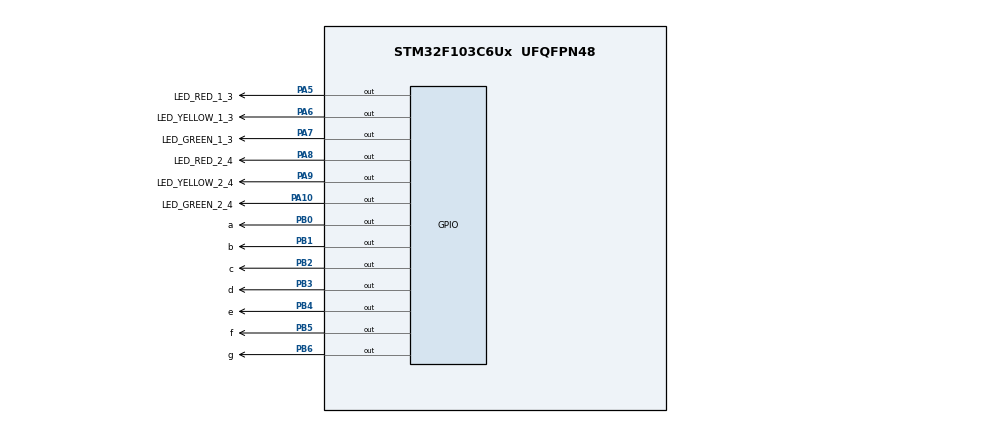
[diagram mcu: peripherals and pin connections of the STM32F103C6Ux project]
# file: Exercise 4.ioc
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Mcu.Family=STM32F1
Mcu.Name=STM32F103C6Ux
Mcu.Package=UFQFPN48
NVIC.PriorityGroup=NVIC_PRIORITYGROUP_4
PA10.GPIO_Label=LED_GREEN_2_4
PA10.Signal=GPIO_Output
PA5.GPIO_Label=LED_RED_1_3
PA5.Signal=GPIO_Output
PA6.GPIO_Label=LED_YELLOW_1_3
PA6.Signal=GPIO_Output
PA7.GPIO_Label=LED_GREEN_1_3
PA7.Signal=GPIO_Output
PA8.GPIO_Label=LED_RED_2_4
PA8.Signal=GPIO_Output
PA9.GPIO_Label=LED_YELLOW_2_4
PA9.Signal=GPIO_Output
PB0.GPIO_Label=a
PB0.Signal=GPIO_Output
PB1.GPIO_Label=b
PB1.Signal=GPIO_Output
PB2.GPIO_Label=c
PB2.Signal=GPIO_Output
PB3.GPIO_Label=d
PB3.Signal=GPIO_Output
PB4.GPIO_Label=e
PB4.Signal=GPIO_Output
PB5.GPIO_Label=f
PB5.Signal=GPIO_Output
PB6.GPIO_Label=g
PB6.Signal=GPIO_Output
ProjectManager.HeapSize=0x200
ProjectManager.StackSize=0x400
ProjectManager.TargetToolchain=STM32CubeIDE
RCC.APB1Freq_Value=8000000
RCC.APB2Freq_Value=8000000
VP_SYS_VS_ND.Mode=No_Debug
board=custom

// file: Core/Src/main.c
/* USER CODE BEGIN Header */
/**
  ******************************************************************************
  * @file           : main.c
  * @brief          : Main program body
  ******************************************************************************
  * @attention
  *
  * <h2><center>&copy; Copyright (c) 2022 STMicroelectronics.
  * All rights reserved.</center></h2>
  *
  * This software component is licensed by ST under BSD 3-Clause license,
  * the "License"; You may not use this file except in compliance with the
  * License. You may obtain a copy of the License at:
  *                        opensource.org/licenses/BSD-3-Clause
  *
  ******************************************************************************
  */
/* USER CODE END Header */
#include "main.h"

void SystemClock_Config(void);
static void MX_GPIO_Init(void);

/* USER CODE BEGIN 0 */
void display7SEG(int num)
{
	if (num == 0)
	{
		HAL_GPIO_WritePin (GPIOB, a_Pin|b_Pin|c_Pin|d_Pin|e_Pin|f_Pin, GPIO_PIN_RESET);
		HAL_GPIO_WritePin (GPIOB, g_Pin, GPIO_PIN_SET);
	}
	else if (num == 1)
	{
		HAL_GPIO_WritePin (GPIOB, b_Pin|c_Pin, GPIO_PIN_RESET);
		HAL_GPIO_WritePin (GPIOB, a_Pin|d_Pin|e_Pin|f_Pin|g_Pin, GPIO_PIN_SET);
	}
	else if (num == 2)
	{
		HAL_GPIO_WritePin (GPIOB, a_Pin|b_Pin|d_Pin|e_Pin|g_Pin, GPIO_PIN_RESET);
		HAL_GPIO_WritePin (GPIOB, c_Pin|f_Pin, GPIO_PIN_SET);
	}
	else if (num == 3)
	{
		HAL_GPIO_WritePin (GPIOB, a_Pin|b_Pin|c_Pin|d_Pin|g_Pin, GPIO_PIN_RESET);
		HAL_GPIO_WritePin (GPIOB, e_Pin|f_Pin, GPIO_PIN_SET);
	}
	else if (num == 4)
	{
		HAL_GPIO_WritePin (GPIOB, b_Pin|c_Pin|f_Pin|g_Pin, GPIO_PIN_RESET);
		HAL_GPIO_WritePin (GPIOB, a_Pin|d_Pin|e_Pin, GPIO_PIN_SET);
	}
	else if (num == 5)
	{
		HAL_GPIO_WritePin (GPIOB, a_Pin|c_Pin|d_Pin|f_Pin|g_Pin, GPIO_PIN_RESET);
		HAL_GPIO_WritePin (GPIOB, b_Pin|e_Pin, GPIO_PIN_SET);
	}
	else if (num == 6)
	{
		HAL_GPIO_WritePin (GPIOB, a_Pin|c_Pin|d_Pin|e_Pin|f_Pin|g_Pin, GPIO_PIN_RESET);
		HAL_GPIO_WritePin (GPIOB, b_Pin, GPIO_PIN_SET);
	}
	else if (num == 7)
	{
		HAL_GPIO_WritePin (GPIOB, a_Pin|b_Pin|c_Pin, GPIO_PIN_RESET);
		HAL_GPIO_WritePin (GPIOB, d_Pin|e_Pin|f_Pin|g_Pin, GPIO_PIN_SET);
	}
	else if (num == 8)
	{
		HAL_GPIO_WritePin (GPIOB, a_Pin|b_Pin|c_Pin|d_Pin|e_Pin|f_Pin|g_Pin, GPIO_PIN_RESET);
	}
	else
	{
		HAL_GPIO_WritePin (GPIOB, a_Pin|b_Pin|c_Pin|d_Pin|f_Pin|g_Pin, GPIO_PIN_RESET);
		HAL_GPIO_WritePin (GPIOB, e_Pin, GPIO_PIN_SET);
	}
}
/* USER CODE END 0 */

int main(void)
{

  /* MCU Configuration--------------------------------------------------------*/

  /* Reset of all peripherals, Initializes the Flash interface and the Systick. */
  HAL_Init();

  /* Configure the system clock */
  SystemClock_Config();

  /* Initialize all configured peripherals */
  MX_GPIO_Init();

  /* Infinite loop */
  /* USER CODE BEGIN WHILE */
  int num = 0; // For 7 led segment
  int counterForLed1_3 = 0;  //For Traffic Light left & right
  int counterForLed2_4 = 0;  //For Traffic Light top & bottom
  while (1)
  {
	  /* Traffic Light left & right with turn on Led red first  */
	  	  if (counterForLed1_3 < 5)
	  	  {
	  		  HAL_GPIO_WritePin ( LED_RED_1_3_GPIO_Port , LED_RED_1_3_Pin , GPIO_PIN_RESET ) ;
	  		  HAL_GPIO_WritePin ( LED_YELLOW_1_3_GPIO_Port , LED_YELLOW_1_3_Pin , GPIO_PIN_SET) ;
	  		  HAL_GPIO_WritePin ( LED_GREEN_1_3_GPIO_Port , LED_GREEN_1_3_Pin , GPIO_PIN_SET) ;
	  	  }

	  	  else if (counterForLed1_3 < 8)
	  	  {
	  		  HAL_GPIO_WritePin ( LED_RED_1_3_GPIO_Port , LED_RED_1_3_Pin , GPIO_PIN_SET ) ;
	  		  HAL_GPIO_WritePin ( LED_YELLOW_1_3_GPIO_Port , LED_YELLOW_1_3_Pin , GPIO_PIN_SET) ;
	  		  HAL_GPIO_WritePin ( LED_GREEN_1_3_GPIO_Port , LED_GREEN_1_3_Pin , GPIO_PIN_RESET) ;
	  	  }

	  	  else
	  	  {
	  		  HAL_GPIO_WritePin ( LED_RED_1_3_GPIO_Port , LED_RED_1_3_Pin , GPIO_PIN_SET ) ;
	  		  HAL_GPIO_WritePin ( LED_YELLOW_1_3_GPIO_Port , LED_YELLOW_1_3_Pin , GPIO_PIN_RESET) ;
	  		  HAL_GPIO_WritePin ( LED_GREEN_1_3_GPIO_Port , LED_GREEN_1_3_Pin , GPIO_PIN_SET) ;
	  	  }

	  	  /* Traffic Light top & bottom with led green first */
	  	  if (counterForLed2_4 < 3)
	  	  {
	  		  HAL_GPIO_WritePin ( LED_RED_2_4_GPIO_Port , LED_RED_2_4_Pin , GPIO_PIN_SET ) ;
	  		  HAL_GPIO_WritePin ( LED_YELLOW_2_4_GPIO_Port , LED_YELLOW_2_4_Pin , GPIO_PIN_SET) ;
	  		  HAL_GPIO_WritePin ( LED_GREEN_2_4_GPIO_Port , LED_GREEN_2_4_Pin , GPIO_PIN_RESET) ;
	  	  }

	  	  else if (counterForLed2_4 < 5)
	  	  {
	  		  HAL_GPIO_WritePin ( LED_RED_2_4_GPIO_Port , LED_RED_2_4_Pin , GPIO_PIN_SET ) ;
	  		  HAL_GPIO_WritePin ( LED_YELLOW_2_4_GPIO_Port , LED_YELLOW_2_4_Pin , GPIO_PIN_RESET) ;
	  		  HAL_GPIO_WritePin ( LED_GREEN_2_4_GPIO_Port , LED_GREEN_2_4_Pin , GPIO_PIN_SET) ;
	  	  }

	  	  else
	  	  {
	  		  HAL_GPIO_WritePin ( LED_RED_2_4_GPIO_Port , LED_RED_2_4_Pin , GPIO_PIN_RESET ) ;
	  		  HAL_GPIO_WritePin ( LED_YELLOW_2_4_GPIO_Port , LED_YELLOW_2_4_Pin , GPIO_PIN_SET) ;
	  		  HAL_GPIO_WritePin ( LED_GREEN_2_4_GPIO_Port , LED_GREEN_2_4_Pin , GPIO_PIN_SET) ;
	  	  }

	  	  counterForLed1_3++;
	  	  counterForLed2_4++;

	  	  //Reset counter
	  	  if (counterForLed1_3 == 10) counterForLed1_3 = 0;
	  	  if (counterForLed2_4 == 10) counterForLed2_4 = 0;

	  	  //Reset 7 led segment
	  	  if (num >= 10) num = 0;

	  	  //display led 7 segment
	  	  display7SEG(num++);

	  	  HAL_Delay(1000);
    /* USER CODE END WHILE */

  }
}

void SystemClock_Config(void)
{
  RCC_OscInitTypeDef RCC_OscInitStruct = {0};
  RCC_ClkInitTypeDef RCC_ClkInitStruct = {0};

  /** Initializes the RCC Oscillators according to the specified parameters
  * in the RCC_OscInitTypeDef structure.
  */
  RCC_OscInitStruct.OscillatorType = RCC_OSCILLATORTYPE_HSI;
  RCC_OscInitStruct.HSIState = RCC_HSI_ON;
  RCC_OscInitStruct.HSICalibrationValue = RCC_HSICALIBRATION_DEFAULT;
  RCC_OscInitStruct.PLL.PLLState = RCC_PLL_NONE;
  if (HAL_RCC_OscConfig(&RCC_OscInitStruct) != HAL_OK)
  {
    Error_Handler();
  }
  /** Initializes the CPU, AHB and APB buses clocks
  */
  RCC_ClkInitStruct.ClockType = RCC_CLOCKTYPE_HCLK|RCC_CLOCKTYPE_SYSCLK
                              |RCC_CLOCKTYPE_PCLK1|RCC_CLOCKTYPE_PCLK2;
  RCC_ClkInitStruct.SYSCLKSource = RCC_SYSCLKSOURCE_HSI;
  RCC_ClkInitStruct.AHBCLKDivider = RCC_SYSCLK_DIV1;
  RCC_ClkInitStruct.APB1CLKDivider = RCC_HCLK_DIV1;
  RCC_ClkInitStruct.APB2CLKDivider = RCC_HCLK_DIV1;

  if (HAL_RCC_ClockConfig(&RCC_ClkInitStruct, FLASH_LATENCY_0) != HAL_OK)
  {
    Error_Handler();
  }
}

static void MX_GPIO_Init(void)
{
  GPIO_InitTypeDef GPIO_InitStruct = {0};

  /* GPIO Ports Clock Enable */
  __HAL_RCC_GPIOA_CLK_ENABLE();
  __HAL_RCC_GPIOB_CLK_ENABLE();

  /*Configure GPIO pin Output Level */
  HAL_GPIO_WritePin(GPIOA, LED_RED_1_3_Pin|LED_YELLOW_1_3_Pin|LED_GREEN_1_3_Pin|LED_RED_2_4_Pin
                          |LED_YELLOW_2_4_Pin|LED_GREEN_2_4_Pin, GPIO_PIN_RESET);

  /*Configure GPIO pin Output Level */
  HAL_GPIO_WritePin(GPIOB, a_Pin|b_Pin|c_Pin|d_Pin
                          |e_Pin|f_Pin|g_Pin, GPIO_PIN_RESET);

  /*Configure GPIO pins : LED_RED_1_3_Pin LED_YELLOW_1_3_Pin LED_GREEN_1_3_Pin LED_RED_2_4_Pin
                           LED_YELLOW_2_4_Pin LED_GREEN_2_4_Pin */
  GPIO_InitStruct.Pin = LED_RED_1_3_Pin|LED_YELLOW_1_3_Pin|LED_GREEN_1_3_Pin|LED_RED_2_4_Pin
                          |LED_YELLOW_2_4_Pin|LED_GREEN_2_4_Pin;
  GPIO_InitStruct.Mode = GPIO_MODE_OUTPUT_PP;
  GPIO_InitStruct.Pull = GPIO_NOPULL;
  GPIO_InitStruct.Speed = GPIO_SPEED_FREQ_LOW;
  HAL_GPIO_Init(GPIOA, &GPIO_InitStruct);

  /*Configure GPIO pins : a_Pin b_Pin c_Pin d_Pin
                           e_Pin f_Pin g_Pin */
  GPIO_InitStruct.Pin = a_Pin|b_Pin|c_Pin|d_Pin
                          |e_Pin|f_Pin|g_Pin;
  GPIO_InitStruct.Mode = GPIO_MODE_OUTPUT_PP;
  GPIO_InitStruct.Pull = GPIO_NOPULL;
  GPIO_InitStruct.Speed = GPIO_SPEED_FREQ_LOW;
  HAL_GPIO_Init(GPIOB, &GPIO_InitStruct);

}

void Error_Handler(void)
{
  __disable_irq();
  while (1)
  {
  }
}

/************************ (C) COPYRIGHT STMicroelectronics *****END OF FILE****/
